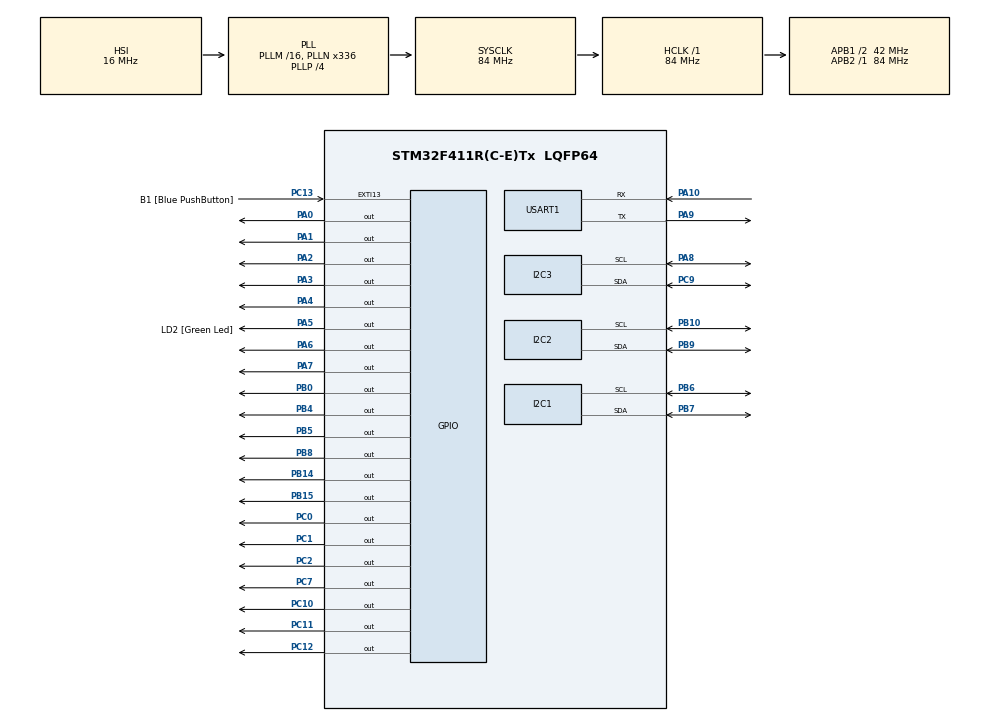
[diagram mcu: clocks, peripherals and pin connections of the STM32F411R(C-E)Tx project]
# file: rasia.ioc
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Dma.Request0=USART1_RX
Dma.Request1=USART1_TX
Dma.USART1_RX.0.Direction=DMA_PERIPH_TO_MEMORY
Dma.USART1_RX.0.FIFOMode=DMA_FIFOMODE_DISABLE
Dma.USART1_RX.0.Instance=DMA2_Stream2
Dma.USART1_RX.0.MemDataAlignment=DMA_MDATAALIGN_BYTE
Dma.USART1_RX.0.MemInc=DMA_MINC_ENABLE
Dma.USART1_RX.0.Mode=DMA_NORMAL
Dma.USART1_RX.0.PeriphDataAlignment=DMA_PDATAALIGN_BYTE
Dma.USART1_RX.0.PeriphInc=DMA_PINC_DISABLE
Dma.USART1_RX.0.Priority=DMA_PRIORITY_LOW
Dma.USART1_TX.1.Direction=DMA_MEMORY_TO_PERIPH
Dma.USART1_TX.1.FIFOMode=DMA_FIFOMODE_DISABLE
Dma.USART1_TX.1.Instance=DMA2_Stream7
Dma.USART1_TX.1.MemDataAlignment=DMA_MDATAALIGN_BYTE
Dma.USART1_TX.1.MemInc=DMA_MINC_ENABLE
Dma.USART1_TX.1.Mode=DMA_NORMAL
Dma.USART1_TX.1.PeriphDataAlignment=DMA_PDATAALIGN_BYTE
Dma.USART1_TX.1.PeriphInc=DMA_PINC_DISABLE
Dma.USART1_TX.1.Priority=DMA_PRIORITY_LOW
I2C1.I2C_Mode=I2C_Fast
I2C2.I2C_Mode=I2C_Fast
I2C3.I2C_Mode=I2C_Fast
Mcu.Family=STM32F4
Mcu.Name=STM32F411R(C-E)Tx
Mcu.Package=LQFP64
NVIC.DMA2_Stream2_IRQn=true\:0\:0\:false\:false\:true
NVIC.DMA2_Stream7_IRQn=true\:0\:0\:false\:false\:true
NVIC.PriorityGroup=NVIC_PRIORITYGROUP_0
NVIC.USART1_IRQn=true\:0\:0\:false\:false\:true
PA0-WKUP.Signal=GPIO_Output
PA1.Signal=GPIO_Output
PA10.Mode=Asynchronous
PA10.Signal=USART1_RX
PA13.GPIO_Label=TMS
PA13.Mode=Serial_Wire
PA13.Signal=SYS_JTMS-SWDIO
PA14.GPIO_Label=TCK
PA14.Mode=Serial_Wire
PA14.Signal=SYS_JTCK-SWCLK
PA2.Signal=GPIO_Output
PA3.Signal=GPIO_Output
PA4.Signal=GPIO_Output
PA5.GPIO_Label=LD2 [Green Led]
PA5.Signal=GPIO_Output
PA6.Signal=GPIO_Output
PA7.Signal=GPIO_Output
PA8.Mode=I2C
PA8.Signal=I2C3_SCL
PA9.Mode=Asynchronous
PA9.Signal=USART1_TX
PB0.Signal=GPIO_Output
PB10.Mode=I2C
PB10.Signal=I2C2_SCL
PB14.Signal=GPIO_Output
PB15.Signal=GPIO_Output
PB3.GPIO_Label=SWO
PB3.Signal=SYS_JTDO-SWO
PB4.Signal=GPIO_Output
PB5.Signal=GPIO_Output
PB6.Mode=I2C
PB6.Signal=I2C1_SCL
PB7.Mode=I2C
PB7.Signal=I2C1_SDA
PB8.Signal=GPIO_Output
PB9.Mode=I2C
PB9.Signal=I2C2_SDA
PC0.Signal=GPIO_Output
PC1.Signal=GPIO_Output
PC10.Signal=GPIO_Output
PC11.Signal=GPIO_Output
PC12.Signal=GPIO_Output
PC13-ANTI_TAMP.GPIO_Label=B1 [Blue PushButton]
PC13-ANTI_TAMP.GPIO_ModeDefaultEXTI=GPIO_MODE_IT_FALLING
PC13-ANTI_TAMP.Signal=GPXTI13
PC14-OSC32_IN.Signal=RCC_OSC32_IN
PC15-OSC32_OUT.Signal=RCC_OSC32_OUT
PC2.Signal=GPIO_Output
PC7.Signal=GPIO_Output
PC9.Mode=I2C
PC9.Signal=I2C3_SDA
PH0\ -\ OSC_IN.Signal=RCC_OSC_IN
PH1\ -\ OSC_OUT.Signal=RCC_OSC_OUT
ProjectManager.HeapSize=0x200
ProjectManager.StackSize=0x400
ProjectManager.TargetToolchain=TrueSTUDIO
RCC.48MHZClocksFreq_Value=84000000
RCC.AHBFreq_Value=84000000
RCC.APB1CLKDivider=RCC_HCLK_DIV2
RCC.APB1Freq_Value=42000000
RCC.APB1TimFreq_Value=84000000
RCC.APB2Freq_Value=84000000
RCC.APB2TimFreq_Value=84000000
RCC.CortexFreq_Value=84000000
RCC.FLatency-AdvancedSettings=FLASH_LATENCY_2
RCC.HCLKFreq_Value=84000000
RCC.HSE_VALUE=8000000
RCC.HSI_VALUE=16000000
RCC.LSE_VALUE=32768
RCC.PLLN=336
RCC.PLLP=RCC_PLLP_DIV4
RCC.SYSCLKFreq_VALUE=84000000
RCC.SYSCLKSource=RCC_SYSCLKSOURCE_PLLCLK
RCC.VCOOutputFreq_Value=336000000
USART1.VirtualMode=VM_ASYNC
board=NUCLEO-F411RE

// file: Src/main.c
/**
  ******************************************************************************
  * File Name          : main.c
  * Description        : Main program body
  ******************************************************************************
  ** This notice applies to any and all portions of this file
  * that are not between comment pairs USER CODE BEGIN and
  * USER CODE END. Other portions of this file, whether
  * inserted by the user or by software development tools
  * are owned by their respective copyright owners.
  *
  * COPYRIGHT(c) 2017 STMicroelectronics
  *
  * Redistribution and use in source and binary forms, with or without modification,
  * are permitted provided that the following conditions are met:
  *   1. Redistributions of source code must retain the above copyright notice,
  *      this list of conditions and the following disclaimer.
  *   2. Redistributions in binary form must reproduce the above copyright notice,
  *      this list of conditions and the following disclaimer in the documentation
  *      and/or other materials provided with the distribution.
  *   3. Neither the name of STMicroelectronics nor the names of its contributors
  *      may be used to endorse or promote products derived from this software
  *      without specific prior written permission.
  *
  * THIS SOFTWARE IS PROVIDED BY THE COPYRIGHT HOLDERS AND CONTRIBUTORS "AS IS"
  * AND ANY EXPRESS OR IMPLIED WARRANTIES, INCLUDING, BUT NOT LIMITED TO, THE
  * IMPLIED WARRANTIES OF MERCHANTABILITY AND FITNESS FOR A PARTICULAR PURPOSE ARE
  * DISCLAIMED. IN NO EVENT SHALL THE COPYRIGHT HOLDER OR CONTRIBUTORS BE LIABLE
  * FOR ANY DIRECT, INDIRECT, INCIDENTAL, SPECIAL, EXEMPLARY, OR CONSEQUENTIAL
  * DAMAGES (INCLUDING, BUT NOT LIMITED TO, PROCUREMENT OF SUBSTITUTE GOODS OR
  * SERVICES; LOSS OF USE, DATA, OR PROFITS; OR BUSINESS INTERRUPTION) HOWEVER
  * CAUSED AND ON ANY THEORY OF LIABILITY, WHETHER IN CONTRACT, STRICT LIABILITY,
  * OR TORT (INCLUDING NEGLIGENCE OR OTHERWISE) ARISING IN ANY WAY OUT OF THE USE
  * OF THIS SOFTWARE, EVEN IF ADVISED OF THE POSSIBILITY OF SUCH DAMAGE.
  *
  ******************************************************************************
  */
#include "main.h"
#include "stm32f4xx_hal.h"

/* USER CODE BEGIN Includes */
#include "stdlib.h"
#define ADDRESS 0xc1
#define START 0x12
#define READ 0x00

/* USER CODE END Includes */

I2C_HandleTypeDef hi2c1;
I2C_HandleTypeDef hi2c2;
I2C_HandleTypeDef hi2c3;

UART_HandleTypeDef huart1;
DMA_HandleTypeDef hdma_usart1_rx;
DMA_HandleTypeDef hdma_usart1_tx;

/* USER CODE BEGIN PV */
/* Private variables ---------------------------------------------------------*/
int use1[7] = {1, 1, 1, 1, 1, 0, 0};
int use2[7] = {1, 1, 1, 1, 1, 0, 0};
int use3[7] = {1, 1, 1, 1, 1, 0, 0};

GPIO_TypeDef * gpio1[7] = {GPIOC, GPIOA, GPIOA, GPIOA, GPIOB, GPIOC, GPIOC};
GPIO_TypeDef * gpio2[7] = {GPIOA, GPIOA, GPIOC, GPIOB, GPIOB, GPIOA, GPIOA};
GPIO_TypeDef * gpio3[6] = {GPIOB, GPIOB, GPIOC, GPIOC, GPIOC, GPIOB};

uint16_t pin1[7] = {GPIO_PIN_2, GPIO_PIN_0, GPIO_PIN_1, GPIO_PIN_4, GPIO_PIN_0, GPIO_PIN_1, GPIO_PIN_0};
uint16_t pin2[7] = {GPIO_PIN_6, GPIO_PIN_7, GPIO_PIN_7, GPIO_PIN_4, GPIO_PIN_5, GPIO_PIN_2, GPIO_PIN_3};
uint16_t pin3[6] = {GPIO_PIN_15, GPIO_PIN_14, GPIO_PIN_12, GPIO_PIN_11, GPIO_PIN_10, GPIO_PIN_8};

uint8_t data_received[5];
uint8_t data_sent[82];
uint8_t coef_max[160];
uint8_t data_max[80];
uint8_t start = 0x00;

/* USER CODE END PV */

void SystemClock_Config(void);
static void MX_GPIO_Init(void);
static void MX_DMA_Init(void);
static void MX_USART1_UART_Init(void);
static void MX_I2C3_Init(void);
static void MX_I2C2_Init(void);
static void MX_I2C1_Init(void);

/* USER CODE BEGIN PFP */
/* Private function prototypes -----------------------------------------------*/

/* USER CODE END PFP */

/* USER CODE BEGIN 0 */
void send_data(){
	int i = 0;
	for(i = 0; i < 82; i++){
		data_sent[i] = 0;
	}
	data_sent[0] = 0xD1;
	data_sent[81] += data_sent[0];
	for(i = 1; i < 81; i++){
		data_sent[i] = data_max[i-1];
		data_sent[81] += data_sent[i];
	}
	HAL_UART_Transmit(&huart1, data_sent, 82, 10);
}

void send_coef(){
	int i = 0;
	for(i = 0; i < 82; i++){
		data_sent[i] = 0;
	}
	data_sent[0] = 0xC1;
	data_sent[81] += data_sent[0];
	for(i = 1; i < 81; i++){
		data_sent[i] = coef_max[i-1];
		data_sent[81] += data_sent[i];
	}
	HAL_UART_Transmit(&huart1, data_sent, 82, 10);
	for(i = 0; i < 82; i++){
		data_sent[i] = 0;
	}
	data_sent[0] = 0xC2;
	data_sent[81] += data_sent[0];
	for(i = 1; i < 81; i++){
		data_sent[i] = coef_max[i-1+80];
		data_sent[81] += data_sent[i];
	}
	HAL_UART_Transmit(&huart1, data_sent, 82, 10);
}

void reset_all(){
	int i = 0;
	for(i = 0; i < 80; i++){
		data_max[i] = 0;
	}
	for(i = 0; i < 160; i++){
		coef_max[i] = 0;
	}
	for(i = 0; i < 7; i++){
		if(use1[i]){
			HAL_GPIO_WritePin(gpio1[i],pin1[i],GPIO_PIN_SET);
		}
		if(use2[i]){
			HAL_GPIO_WritePin(gpio2[i],pin2[i],GPIO_PIN_SET);
		}
		if(use3[i]){
			HAL_GPIO_WritePin(gpio3[i],pin3[i],GPIO_PIN_SET);
		}
		HAL_Delay(10);
		if(use1[i]){
			HAL_GPIO_WritePin(gpio1[i],pin1[i],GPIO_PIN_RESET);
		}
		if(use2[i]){
			HAL_GPIO_WritePin(gpio2[i],pin2[i],GPIO_PIN_RESET);
		}
		if(use3[i]){
			HAL_GPIO_WritePin(gpio3[i],pin3[i],GPIO_PIN_RESET);
		}
	}
}

void read_coef_all(){
	int i = 0;
	for(i = 0; i < 160; i++){
		coef_max[i] = 0;
	}
	for(i = 0; i < 7; i++){
		if(use1[i]){
			HAL_GPIO_WritePin(gpio1[i],pin1[i],GPIO_PIN_SET);
		}
		if(use2[i]){
			HAL_GPIO_WritePin(gpio2[i],pin2[i],GPIO_PIN_SET);
		}
		if(use3[i]){
			HAL_GPIO_WritePin(gpio3[i],pin3[i],GPIO_PIN_SET);
		}
		HAL_Delay(10);
		if(use1[i]){
			HAL_I2C_Mem_Read(&hi2c1, (uint16_t)ADDRESS, 0x04, 1, &coef_max[i*8], 8, 10);
		}
		if(use2[i]){
			HAL_I2C_Mem_Read(&hi2c2, (uint16_t)ADDRESS, 0x04, 1, &coef_max[i*8 + 56], 8, 10);
		}
		if(use3[i]){
			HAL_I2C_Mem_Read(&hi2c3, (uint16_t)ADDRESS, 0x04, 1, &coef_max[i*8 + 112], 8, 10);
		}
		if(use1[i]){
			HAL_GPIO_WritePin(gpio1[i],pin1[i],GPIO_PIN_RESET);
		}
		if(use2[i]){
			HAL_GPIO_WritePin(gpio2[i],pin2[i],GPIO_PIN_RESET);
		}
		if(use3[i]){
			HAL_GPIO_WritePin(gpio3[i],pin3[i],GPIO_PIN_RESET);
		}
	}
}

void read_data_all(){
	int i = 0;
	for(i = 0; i < 80; i++){
		data_max[i] = 0;
	}
	for(i = 0; i < 7; i++){
		if(use1[i]){
			HAL_GPIO_WritePin(gpio1[i],pin1[i],GPIO_PIN_SET);
		}
		if(use2[i]){
			HAL_GPIO_WritePin(gpio2[i],pin2[i],GPIO_PIN_SET);
		}
		if(use3[i]){
			HAL_GPIO_WritePin(gpio3[i],pin3[i],GPIO_PIN_SET);
		}
		if(use1[i]){
			HAL_I2C_Mem_Write(&hi2c1, (uint16_t)0xc0, START, 1, &start, 1, 10);
		}
		if(use2[i]){
			HAL_I2C_Mem_Write(&hi2c2, (uint16_t)0xc0, START, 1, &start, 1, 10);
		}
		if(use3[i]){
			HAL_I2C_Mem_Write(&hi2c3, (uint16_t)0xc0, START, 1, &start, 1, 10);
		}
		HAL_Delay(10);
		if(use1[i]){
			HAL_I2C_Mem_Read(&hi2c1, (uint16_t)ADDRESS, 0x00, 1, &data_max[i*4], 8, 10);
		}
		if(use2[i]){
			HAL_I2C_Mem_Read(&hi2c2, (uint16_t)ADDRESS, 0x00, 1, &data_max[i*4 + 28], 8, 10);
		}
		if(use3[i]){
			HAL_I2C_Mem_Read(&hi2c3, (uint16_t)ADDRESS, 0x00, 1, &data_max[i*4 + 56], 8, 10);
		}
		if(use1[i]){
			HAL_GPIO_WritePin(gpio1[i],pin1[i],GPIO_PIN_RESET);
		}
		if(use2[i]){
			HAL_GPIO_WritePin(gpio2[i],pin2[i],GPIO_PIN_RESET);
		}
		if(use3[i]){
			HAL_GPIO_WritePin(gpio3[i],pin3[i],GPIO_PIN_RESET);
		}
	}
}

void HAL_UART_RxCpltCallback(UART_HandleTypeDef *huart){
	HAL_GPIO_TogglePin(LD2_GPIO_Port, LD2_Pin);
	send_coef();
	HAL_UART_Receive_DMA(&huart1, data_received, 1);
}
/* USER CODE END 0 */

int main(void)
{

  /* MCU Configuration----------------------------------------------------------*/

  /* Reset of all peripherals, Initializes the Flash interface and the Systick. */
  HAL_Init();

  /* Configure the system clock */
  SystemClock_Config();

  /* Initialize all configured peripherals */
  MX_GPIO_Init();
  MX_DMA_Init();
  MX_USART1_UART_Init();
  MX_I2C3_Init();
  MX_I2C2_Init();
  MX_I2C1_Init();

  /* USER CODE BEGIN 2 */
  HAL_UART_Receive_DMA(&huart1, data_received, 1);
  HAL_Delay(10);
  reset_all();
  read_coef_all();
  /* USER CODE END 2 */

  /* Infinite loop */
  while (1)
  {

  /* USER CODE BEGIN 3 */
	  read_data_all();
	  send_data();
	  HAL_Delay(100);
  }
  /* USER CODE END 3 */

}

/** System Clock Configuration
*/
void SystemClock_Config(void)
{

  RCC_OscInitTypeDef RCC_OscInitStruct;
  RCC_ClkInitTypeDef RCC_ClkInitStruct;

    /**Configure the main internal regulator output voltage
    */
  __HAL_RCC_PWR_CLK_ENABLE();

  __HAL_PWR_VOLTAGESCALING_CONFIG(PWR_REGULATOR_VOLTAGE_SCALE1);

    /**Initializes the CPU, AHB and APB busses clocks
    */
  RCC_OscInitStruct.OscillatorType = RCC_OSCILLATORTYPE_HSI;
  RCC_OscInitStruct.HSIState = RCC_HSI_ON;
  RCC_OscInitStruct.HSICalibrationValue = 16;
  RCC_OscInitStruct.PLL.PLLState = RCC_PLL_ON;
  RCC_OscInitStruct.PLL.PLLSource = RCC_PLLSOURCE_HSI;
  RCC_OscInitStruct.PLL.PLLM = 16;
  RCC_OscInitStruct.PLL.PLLN = 336;
  RCC_OscInitStruct.PLL.PLLP = RCC_PLLP_DIV4;
  RCC_OscInitStruct.PLL.PLLQ = 4;
  if (HAL_RCC_OscConfig(&RCC_OscInitStruct) != HAL_OK)
  {
    _Error_Handler(__FILE__, __LINE__);
  }

    /**Initializes the CPU, AHB and APB busses clocks
    */
  RCC_ClkInitStruct.ClockType = RCC_CLOCKTYPE_HCLK|RCC_CLOCKTYPE_SYSCLK
                              |RCC_CLOCKTYPE_PCLK1|RCC_CLOCKTYPE_PCLK2;
  RCC_ClkInitStruct.SYSCLKSource = RCC_SYSCLKSOURCE_PLLCLK;
  RCC_ClkInitStruct.AHBCLKDivider = RCC_SYSCLK_DIV1;
  RCC_ClkInitStruct.APB1CLKDivider = RCC_HCLK_DIV2;
  RCC_ClkInitStruct.APB2CLKDivider = RCC_HCLK_DIV1;

  if (HAL_RCC_ClockConfig(&RCC_ClkInitStruct, FLASH_LATENCY_2) != HAL_OK)
  {
    _Error_Handler(__FILE__, __LINE__);
  }

    /**Configure the Systick interrupt time
    */
  HAL_SYSTICK_Config(HAL_RCC_GetHCLKFreq()/1000);

    /**Configure the Systick
    */
  HAL_SYSTICK_CLKSourceConfig(SYSTICK_CLKSOURCE_HCLK);

  /* SysTick_IRQn interrupt configuration */
  HAL_NVIC_SetPriority(SysTick_IRQn, 0, 0);
}

/* I2C1 init function */
static void MX_I2C1_Init(void)
{

  hi2c1.Instance = I2C1;
  hi2c1.Init.ClockSpeed = 400000;
  hi2c1.Init.DutyCycle = I2C_DUTYCYCLE_2;
  hi2c1.Init.OwnAddress1 = 0;
  hi2c1.Init.AddressingMode = I2C_ADDRESSINGMODE_7BIT;
  hi2c1.Init.DualAddressMode = I2C_DUALADDRESS_DISABLE;
  hi2c1.Init.OwnAddress2 = 0;
  hi2c1.Init.GeneralCallMode = I2C_GENERALCALL_DISABLE;
  hi2c1.Init.NoStretchMode = I2C_NOSTRETCH_DISABLE;
  if (HAL_I2C_Init(&hi2c1) != HAL_OK)
  {
    _Error_Handler(__FILE__, __LINE__);
  }

}

/* I2C2 init function */
static void MX_I2C2_Init(void)
{

  hi2c2.Instance = I2C2;
  hi2c2.Init.ClockSpeed = 400000;
  hi2c2.Init.DutyCycle = I2C_DUTYCYCLE_2;
  hi2c2.Init.OwnAddress1 = 0;
  hi2c2.Init.AddressingMode = I2C_ADDRESSINGMODE_7BIT;
  hi2c2.Init.DualAddressMode = I2C_DUALADDRESS_DISABLE;
  hi2c2.Init.OwnAddress2 = 0;
  hi2c2.Init.GeneralCallMode = I2C_GENERALCALL_DISABLE;
  hi2c2.Init.NoStretchMode = I2C_NOSTRETCH_DISABLE;
  if (HAL_I2C_Init(&hi2c2) != HAL_OK)
  {
    _Error_Handler(__FILE__, __LINE__);
  }

}

/* I2C3 init function */
static void MX_I2C3_Init(void)
{

  hi2c3.Instance = I2C3;
  hi2c3.Init.ClockSpeed = 400000;
  hi2c3.Init.DutyCycle = I2C_DUTYCYCLE_2;
  hi2c3.Init.OwnAddress1 = 0;
  hi2c3.Init.AddressingMode = I2C_ADDRESSINGMODE_7BIT;
  hi2c3.Init.DualAddressMode = I2C_DUALADDRESS_DISABLE;
  hi2c3.Init.OwnAddress2 = 0;
  hi2c3.Init.GeneralCallMode = I2C_GENERALCALL_DISABLE;
  hi2c3.Init.NoStretchMode = I2C_NOSTRETCH_DISABLE;
  if (HAL_I2C_Init(&hi2c3) != HAL_OK)
  {
    _Error_Handler(__FILE__, __LINE__);
  }

}

/* USART1 init function */
static void MX_USART1_UART_Init(void)
{

  huart1.Instance = USART1;
  huart1.Init.BaudRate = 115200;
  huart1.Init.WordLength = UART_WORDLENGTH_8B;
  huart1.Init.StopBits = UART_STOPBITS_1;
  huart1.Init.Parity = UART_PARITY_NONE;
  huart1.Init.Mode = UART_MODE_TX_RX;
  huart1.Init.HwFlowCtl = UART_HWCONTROL_NONE;
  huart1.Init.OverSampling = UART_OVERSAMPLING_16;
  if (HAL_UART_Init(&huart1) != HAL_OK)
  {
    _Error_Handler(__FILE__, __LINE__);
  }

}

static void MX_DMA_Init(void)
{
  /* DMA controller clock enable */
  __HAL_RCC_DMA2_CLK_ENABLE();

  /* DMA interrupt init */
  /* DMA2_Stream2_IRQn interrupt configuration */
  HAL_NVIC_SetPriority(DMA2_Stream2_IRQn, 0, 0);
  HAL_NVIC_EnableIRQ(DMA2_Stream2_IRQn);
  /* DMA2_Stream7_IRQn interrupt configuration */
  HAL_NVIC_SetPriority(DMA2_Stream7_IRQn, 0, 0);
  HAL_NVIC_EnableIRQ(DMA2_Stream7_IRQn);

}

/** Configure pins as
        * Analog
        * Input
        * Output
        * EVENT_OUT
        * EXTI
*/
static void MX_GPIO_Init(void)
{

  GPIO_InitTypeDef GPIO_InitStruct;

  /* GPIO Ports Clock Enable */
  __HAL_RCC_GPIOC_CLK_ENABLE();
  __HAL_RCC_GPIOH_CLK_ENABLE();
  __HAL_RCC_GPIOA_CLK_ENABLE();
  __HAL_RCC_GPIOB_CLK_ENABLE();

  /*Configure GPIO pin Output Level */
  HAL_GPIO_WritePin(GPIOC, GPIO_PIN_0|GPIO_PIN_1|GPIO_PIN_2|GPIO_PIN_7
                          |GPIO_PIN_10|GPIO_PIN_11|GPIO_PIN_12, GPIO_PIN_RESET);

  /*Configure GPIO pin Output Level */
  HAL_GPIO_WritePin(GPIOA, GPIO_PIN_0|GPIO_PIN_1|GPIO_PIN_2|GPIO_PIN_3
                          |GPIO_PIN_4|LD2_Pin|GPIO_PIN_6|GPIO_PIN_7, GPIO_PIN_RESET);

  /*Configure GPIO pin Output Level */
  HAL_GPIO_WritePin(GPIOB, GPIO_PIN_0|GPIO_PIN_14|GPIO_PIN_15|GPIO_PIN_4
                          |GPIO_PIN_5|GPIO_PIN_8, GPIO_PIN_RESET);

  /*Configure GPIO pin : B1_Pin */
  GPIO_InitStruct.Pin = B1_Pin;
  GPIO_InitStruct.Mode = GPIO_MODE_IT_FALLING;
  GPIO_InitStruct.Pull = GPIO_NOPULL;
  HAL_GPIO_Init(B1_GPIO_Port, &GPIO_InitStruct);

  /*Configure GPIO pins : PC0 PC1 PC2 PC7
                           PC10 PC11 PC12 */
  GPIO_InitStruct.Pin = GPIO_PIN_0|GPIO_PIN_1|GPIO_PIN_2|GPIO_PIN_7
                          |GPIO_PIN_10|GPIO_PIN_11|GPIO_PIN_12;
  GPIO_InitStruct.Mode = GPIO_MODE_OUTPUT_PP;
  GPIO_InitStruct.Pull = GPIO_NOPULL;
  GPIO_InitStruct.Speed = GPIO_SPEED_FREQ_LOW;
  HAL_GPIO_Init(GPIOC, &GPIO_InitStruct);

  /*Configure GPIO pins : PA0 PA1 PA2 PA3
                           PA4 LD2_Pin PA6 PA7 */
  GPIO_InitStruct.Pin = GPIO_PIN_0|GPIO_PIN_1|GPIO_PIN_2|GPIO_PIN_3
                          |GPIO_PIN_4|LD2_Pin|GPIO_PIN_6|GPIO_PIN_7;
  GPIO_InitStruct.Mode = GPIO_MODE_OUTPUT_PP;
  GPIO_InitStruct.Pull = GPIO_NOPULL;
  GPIO_InitStruct.Speed = GPIO_SPEED_FREQ_LOW;
  HAL_GPIO_Init(GPIOA, &GPIO_InitStruct);

  /*Configure GPIO pins : PB0 PB14 PB15 PB4
                           PB5 PB8 */
  GPIO_InitStruct.Pin = GPIO_PIN_0|GPIO_PIN_14|GPIO_PIN_15|GPIO_PIN_4
                          |GPIO_PIN_5|GPIO_PIN_8;
  GPIO_InitStruct.Mode = GPIO_MODE_OUTPUT_PP;
  GPIO_InitStruct.Pull = GPIO_NOPULL;
  GPIO_InitStruct.Speed = GPIO_SPEED_FREQ_LOW;
  HAL_GPIO_Init(GPIOB, &GPIO_InitStruct);

}

void _Error_Handler(char * file, int line)
{
  while(1)
  {
  }
}

/************************ (C) COPYRIGHT STMicroelectronics *****END OF FILE****/
